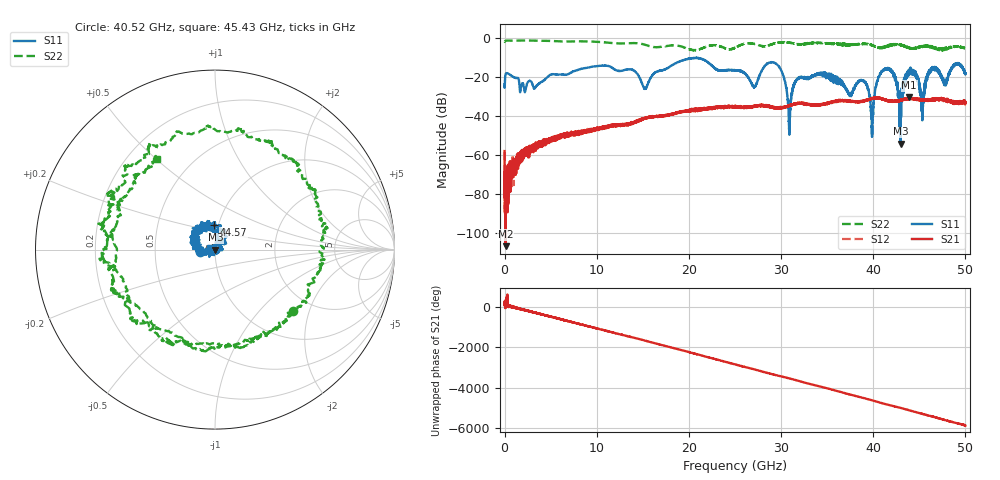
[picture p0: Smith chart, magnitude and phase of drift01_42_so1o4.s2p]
!Created with skrf (http://scikit-rf.org).
# Hz S RI R 50.0
!freq ReS11 ImS11 ReS21 ImS21 ReS12 ImS12 ReS22 ImS22
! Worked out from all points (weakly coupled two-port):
!   10001 points, 300 kHz to 50 GHz, reference 50 ohm
!   highest |S21| = -30.62 dB at 43.9 GHz (marker M1); lowest = -107.0 dB at 100.3 MHz (marker M2)
!   lowest |S11| = -54.3 dB at 42.97 GHz (marker M3), VSWR 1.00, Z = 50.2 - j0.0471 ohm
!   |S11| at or under -10 dB: start of sweep to end of sweep
!   |S22| runs from -6.7 to -1.4 dB; largest |S21 - S12| = 0.0042
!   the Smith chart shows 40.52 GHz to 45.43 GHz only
!   S11 on the Smith chart (normalised r, x): 40.52 GHz: 0.84, -0.03; 44.57 GHz: 0.95, +0.27; 45.43 GHz: 0.94, +0.02
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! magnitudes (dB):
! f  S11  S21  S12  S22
! 300 kHz  -23.8  -58.1  -58.6  -2.1
! 100.3 MHz  -18.8  -107.0  -76.7  -1.5
! 8.335 GHz  -15.9  -49.0  -49.0  -1.8
! 13.78 GHz  -16.3  -43.7  -44.2  -2.7
! 15.23 GHz  -26.3  -41.2  -41.1  -3.6
! 16.67 GHz  -17.1  -40.4  -40.3  -4.8
! 25 GHz  -16.6  -35.2  -35.7  -5.1
! 27.1 GHz  -25.3  -35.1  -35.0  -3.2
! 29.42 GHz  -13.1  -36.1  -35.8  -2.8
! 30.91 GHz  -45.8  -34.9  -35.1  -2.6
! 31.66 GHz  -21.7  -33.8  -33.8  -3.2
! 33.34 GHz  -19.7  -34.3  -34.5  -2.7
! 38.92 GHz  -22.3  -32.2  -32.5  -3.0
! 39.88 GHz  -49.5  -31.2  -31.2  -3.7
! 40.52 GHz  -21.2  -30.9  -31.0  -5.1
! 41.67 GHz  -16.2  -32.1  -32.5  -4.4
! 42.97 GHz  -54.3  -32.0  -31.8  -3.9
! 43.9 GHz  -18.7  -30.6  -31.2  -5.1
! 44.57 GHz  -17.1  -31.3  -31.3  -5.2
! 45.43 GHz  -30.3  -31.7  -32.1  -4.4
! 46.42 GHz  -15.6  -31.7  -31.6  -4.8
! 50 GHz  -18.1  -33.1  -32.7  -5.4
